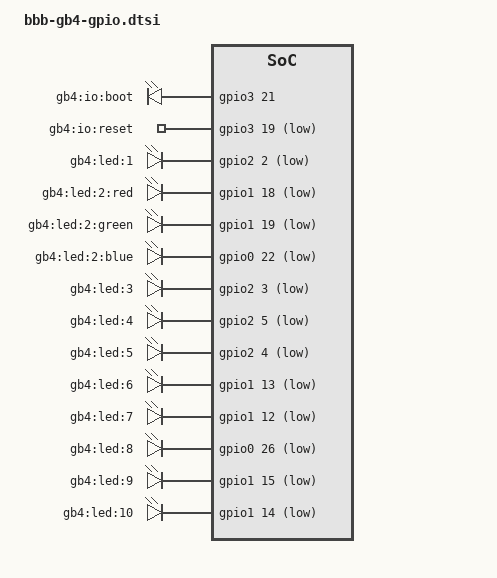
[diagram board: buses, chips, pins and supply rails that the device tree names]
&am33xx_pinmux {
	gb4_pins: gb4_pins {
		pinctrl-single,pins = <
			AM33XX_IOPAD(0x9ac, PIN_OUTPUT | MUX_MODE7)      /* P9.25, io boot     */
			AM33XX_IOPAD(0x9a4, PIN_OUTPUT | MUX_MODE7)      /* P9.27, io reset    */
			AM33XX_IOPAD(0x878, PIN_OUTPUT | MUX_MODE7)      /* P9.12, UART 4 DE   */
			AM33XX_IOPAD(0x890, PIN_OUTPUT | MUX_MODE7)      /* P8.7,  LED 1       */
			AM33XX_IOPAD(0x848, PIN_OUTPUT | MUX_MODE7)      /* P9.14, LED 2 red   */
			AM33XX_IOPAD(0x84c, PIN_OUTPUT | MUX_MODE7)      /* P9.16, LED 2 green */
			AM33XX_IOPAD(0x820, PIN_OUTPUT | MUX_MODE7)      /* P8.19, LED 2 blue  */
			AM33XX_IOPAD(0x894, PIN_OUTPUT | MUX_MODE7)      /* P8.8,  LED 3       */
			AM33XX_IOPAD(0x89c, PIN_OUTPUT | MUX_MODE7)      /* P8.9,  LED 4       */
			AM33XX_IOPAD(0x898, PIN_OUTPUT | MUX_MODE7)      /* P8.10, LED 5       */
			AM33XX_IOPAD(0x834, PIN_OUTPUT | MUX_MODE7)      /* P8.11, LED 6       */
			AM33XX_IOPAD(0x830, PIN_OUTPUT | MUX_MODE7)      /* P8.12, LED 7       */
			AM33XX_IOPAD(0x828, PIN_OUTPUT | MUX_MODE7)      /* P8.14, LED 8       */
			AM33XX_IOPAD(0x83c, PIN_OUTPUT | MUX_MODE7)      /* P8.15, LED 9       */
			AM33XX_IOPAD(0x838, PIN_OUTPUT | MUX_MODE7)      /* P8.16, LED 10      */
		>;
	};
};

/ {
	gb4_gpio {
		pinctrl-names = "default";
		pinctrl-0 = <&gb4_pins>;

		compatible = "gpio-leds";

		io_boot {
			label = "gb4:io:boot";
			gpios = <&gpio3 21 GPIO_ACTIVE_HIGH>;
			default-state = "off";
		};
		io_reset {
			label = "gb4:io:reset";
			gpios = <&gpio3 19 GPIO_ACTIVE_LOW>;
			default-state = "off";
		};
		led1 {
			label = "gb4:led:1";
			gpios = <&gpio2 2 GPIO_ACTIVE_LOW>;
			default-state = "off";
		};
		led2r {
			label = "gb4:led:2:red";
			gpios = <&gpio1 18 GPIO_ACTIVE_LOW>;
			default-state = "off";
		};
		led2g {
			label = "gb4:led:2:green";
			gpios = <&gpio1 19 GPIO_ACTIVE_LOW>;
			default-state = "off";
		};
		led2b {
			label = "gb4:led:2:blue";
			gpios = <&gpio0 22 GPIO_ACTIVE_LOW>;
			default-state = "on";
		};
		led3 {
			label = "gb4:led:3";
			gpios = <&gpio2 3 GPIO_ACTIVE_LOW>;
			default-state = "off";
		};
		led4 {
			label = "gb4:led:4";
			gpios = <&gpio2 5 GPIO_ACTIVE_LOW>;
			default-state = "off";
		};
		led5 {
			label = "gb4:led:5";
			gpios = <&gpio2 4 GPIO_ACTIVE_LOW>;
			default-state = "off";
		};
		led6 {
			label = "gb4:led:6";
			gpios = <&gpio1 13 GPIO_ACTIVE_LOW>;
			default-state = "off";
		};
		led7 {
			label = "gb4:led:7";
			gpios = <&gpio1 12 GPIO_ACTIVE_LOW>;
			default-state = "off";
		};
		led8 {
			label = "gb4:led:8";
			gpios = <&gpio0 26 GPIO_ACTIVE_LOW>;
			default-state = "off";
		};
		led9 {
			label = "gb4:led:9";
			gpios = <&gpio1 15 GPIO_ACTIVE_LOW>;
			default-state = "off";
		};
		led10 {
			label = "gb4:led:10";
			gpios = <&gpio1 14 GPIO_ACTIVE_LOW>;
			default-state = "off";
		};
	};
};
